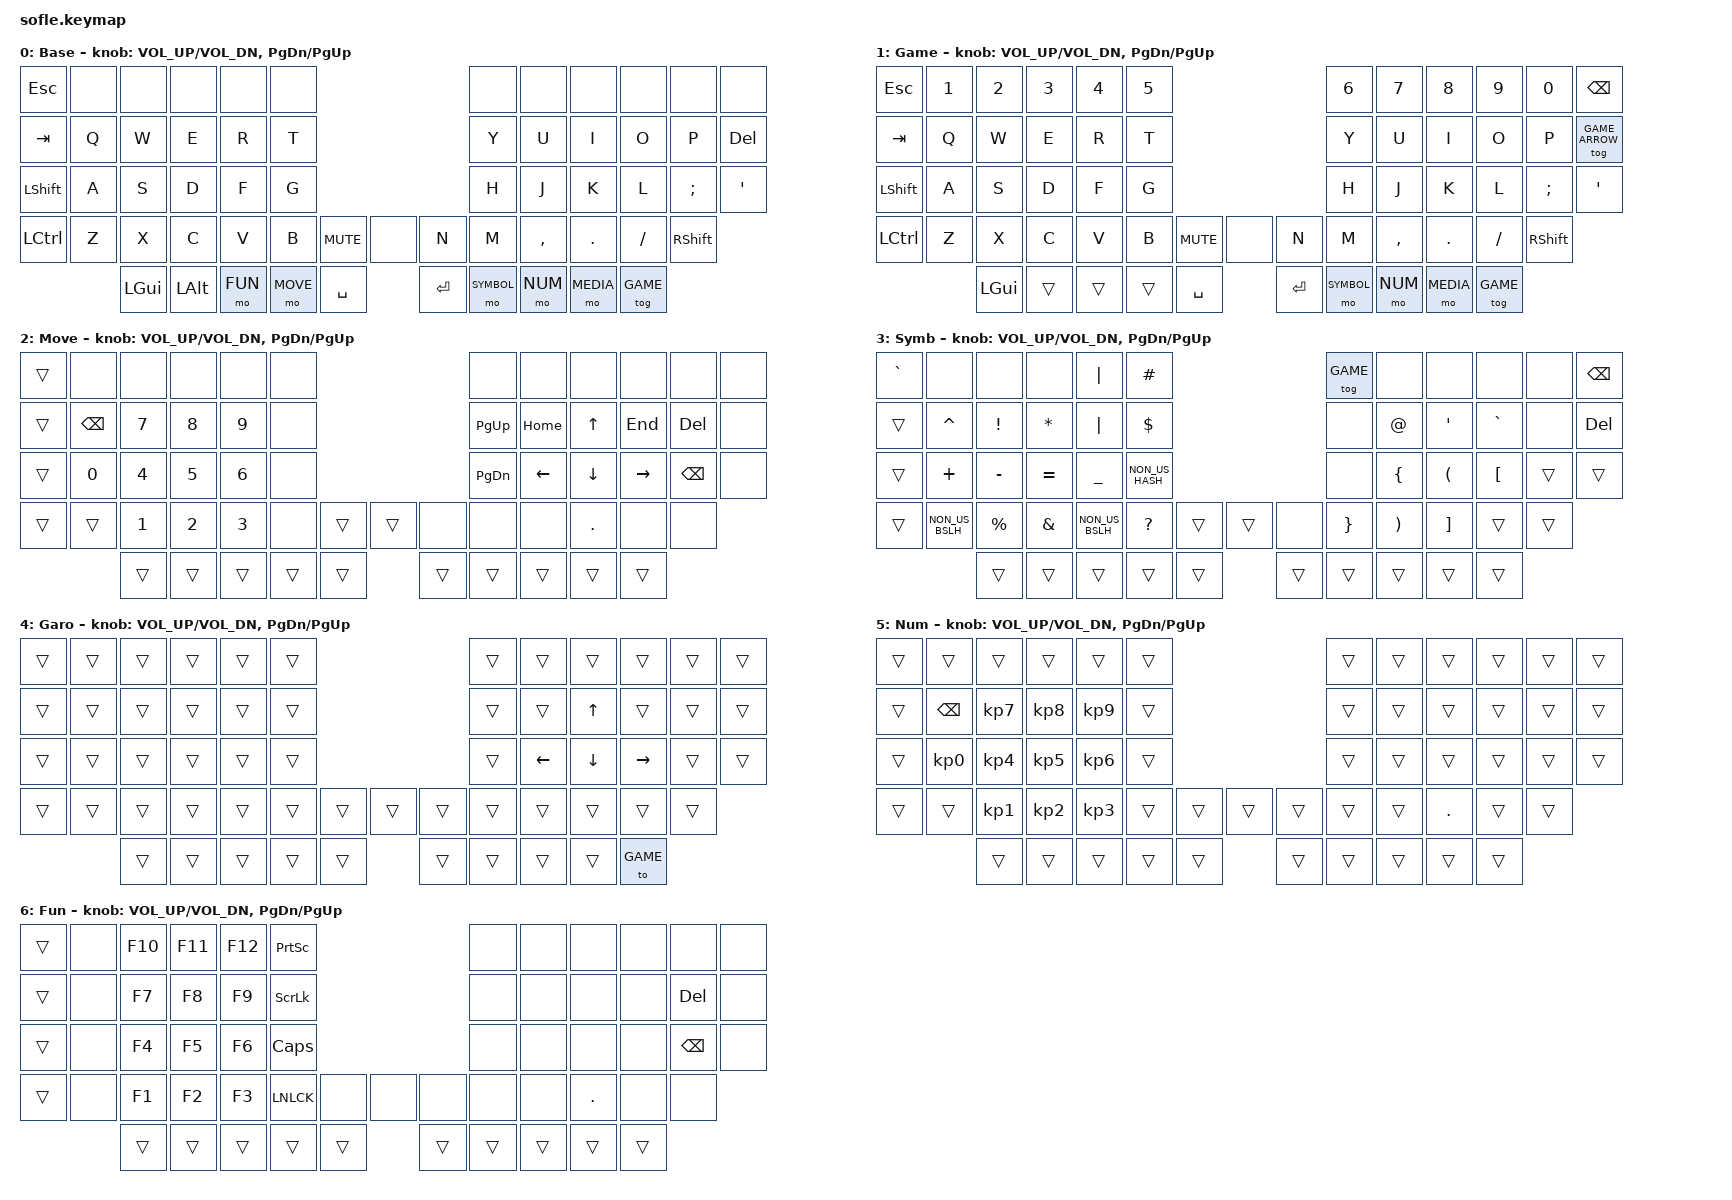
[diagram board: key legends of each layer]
/*
 * Copyright (c) 2020 The ZMK Contributors
 *
 * SPDX-License-Identifier: MIT
 */

#include <behaviors.dtsi>
#include <dt-bindings/zmk/keys.h>
#include <dt-bindings/zmk/bt.h>
#include <dt-bindings/zmk/rgb.h>
#include <dt-bindings/zmk/ext_power.h>

#define QWERTY     0
#define GAME       1
#define MOVE       2
#define SYMBOL     3
#define GAME_ARROW 4
#define NUM        5
#define FUN        6
#define MEDIA      7

/ {
    combos {
        compatible = "zmk,combos";

        combo_ui {
            timeout-ms = <50>;
            key-positions = <19 20>;
            bindings = <&kp LG(GRAVE)>;
        };

        combo_df {
            timeout-ms = <50>;
            key-positions = <27 28>;
            bindings = <&kp RET>;
        };

        combo_jk {
            timeout-ms = <50>;
            key-positions = <31 32>;
            bindings = <&kp BSPC>;
        };

        combo_l_semi {
            timeout-ms = <50>;
            key-positions = <33 34>;
            bindings = <&kp DEL>;
        };
    };

    keymap {
        compatible = "zmk,keymap";

        qwerty_layer {
            display-name = "Base";
            bindings = <
&kp ESC    &none  &none     &none     &none    &none                                     &none       &none    &none      &none      &none     &none
&kp TAB    &kp Q  &kp W     &kp E     &kp R    &kp T                                     &kp Y       &kp U    &kp I      &kp O      &kp P     &kp DEL
&kp LSHFT  &kp A  &kp S     &kp D     &kp F    &kp G                                     &kp H       &kp J    &kp K      &kp L      &kp SEMI  &kp SQT
&kp LCTRL  &kp Z  &kp X     &kp C     &kp V    &kp B     &kp C_MUTE    &none  &kp N       &kp M    &kp COMMA  &kp DOT    &kp FSLH  &kp RSHFT
                  &kp LGUI  &kp LALT  &mo FUN  &mo MOVE  &kp SPACE     &kp RET           &mo SYMBOL  &mo NUM  &mo MEDIA  &tog GAME
            >;

            sensor-bindings =
                <&inc_dec_kp C_VOL_UP C_VOL_DN>,
                <&inc_dec_kp PG_DN PG_UP>;
        };

        game_layer {
            display-name = "Game";
            bindings = <
&kp ESC    &kp N1  &kp N2    &kp N3  &kp N4  &kp N5                                  &kp N6      &kp N7   &kp N8     &kp N9     &kp N0    &kp BSPC
&kp TAB    &kp Q   &kp W     &kp E   &kp R   &kp T                                   &kp Y       &kp U    &kp I      &kp O      &kp P     &tog GAME_ARROW
&kp LSHFT  &kp A   &kp S     &kp D   &kp F   &kp G                                   &kp H       &kp J    &kp K      &kp L      &kp SEMI  &kp SQT
&kp LCTRL  &kp Z   &kp X     &kp C   &kp V   &kp B   &kp C_MUTE    &none  &kp N       &kp M    &kp COMMA  &kp DOT    &kp FSLH  &kp RSHFT
                   &kp LGUI  &trans  &trans  &trans  &kp SPACE     &kp RET           &mo SYMBOL  &mo NUM  &mo MEDIA  &tog GAME
            >;

            sensor-bindings =
                <&inc_dec_kp C_VOL_UP C_VOL_DN>,
                <&inc_dec_kp PG_DN PG_UP>;
        };

        move_layer {
            display-name = "Move";
            bindings = <
&trans  &none     &none   &none   &none   &none                     &none      &none     &none     &none      &none     &none
&trans  &kp BSPC  &kp N7  &kp N8  &kp N9  &none                     &kp PG_UP  &kp HOME  &kp UP    &kp END    &kp DEL   &none
&trans  &kp N0    &kp N4  &kp N5  &kp N6  &none                     &kp PG_DN  &kp LEFT  &kp DOWN  &kp RIGHT  &kp BSPC  &none
&trans  &trans    &kp N1  &kp N2  &kp N3  &none   &trans    &trans  &none      &none     &none     &kp DOT    &none     &none
                  &trans  &trans  &trans  &trans  &trans    &trans  &trans     &trans    &trans    &trans
            >;

            sensor-bindings =
                <&inc_dec_kp C_VOL_UP C_VOL_DN>,
                <&inc_dec_kp PG_DN PG_UP>;
        };

        symbol_layer {
            display-name = "Symb";
            bindings = <
&kp GRAVE  &none            &none      &none      &kp PIPE         &kp POUND                          &tog GAME  &none     &none     &none      &none   &kp BSPC
&trans     &kp CARET        &kp EXCL   &kp ASTRK  &kp PIPE         &kp DLLR                           &none      &kp AT    &kp SQT   &kp GRAVE  &none   &kp DEL
&trans     &kp PLUS         &kp MINUS  &kp EQUAL  &kp UNDER        &kp NON_US_HASH                    &none      &kp LBRC  &kp LPAR  &kp LBKT   &trans  &trans
&trans     &kp NON_US_BSLH  &kp PRCNT  &kp AMPS   &kp NON_US_BSLH  &kp QMARK        &trans    &trans  &none      &kp RBRC  &kp RPAR  &kp RBKT   &trans  &trans
                            &trans     &trans     &trans           &trans           &trans    &trans  &trans     &trans    &trans    &trans
            >;

            sensor-bindings =
                <&inc_dec_kp C_VOL_UP C_VOL_DN>,
                <&inc_dec_kp PG_DN PG_UP>;
        };

        game_arrow_layer {
            display-name = "Garo";
            bindings = <
&trans  &trans  &trans  &trans  &trans  &trans                    &trans  &trans    &trans    &trans     &trans  &trans
&trans  &trans  &trans  &trans  &trans  &trans                    &trans  &trans    &kp UP    &trans     &trans  &trans
&trans  &trans  &trans  &trans  &trans  &trans                    &trans  &kp LEFT  &kp DOWN  &kp RIGHT  &trans  &trans
&trans  &trans  &trans  &trans  &trans  &trans  &trans    &trans  &trans  &trans    &trans    &trans     &trans  &trans
                &trans  &trans  &trans  &trans  &trans    &trans  &trans  &trans    &trans    &to GAME
            >;

            sensor-bindings =
                <&inc_dec_kp C_VOL_UP C_VOL_DN>,
                <&inc_dec_kp PG_DN PG_UP>;
        };

        num_layer {
            display-name = "Num";
            bindings = <
&trans  &trans     &trans     &trans     &trans     &trans                    &trans  &trans  &trans  &trans   &trans  &trans
&trans  &kp BSPC   &kp KP_N7  &kp KP_N8  &kp KP_N9  &trans                    &trans  &trans  &trans  &trans   &trans  &trans
&trans  &kp KP_N0  &kp KP_N4  &kp KP_N5  &kp KP_N6  &trans                    &trans  &trans  &trans  &trans   &trans  &trans
&trans  &trans     &kp KP_N1  &kp KP_N2  &kp KP_N3  &trans  &trans    &trans  &trans  &trans  &trans  &kp DOT  &trans  &trans
                   &trans     &trans     &trans     &trans  &trans    &trans  &trans  &trans  &trans  &trans
            >;

            sensor-bindings =
                <&inc_dec_kp C_VOL_UP C_VOL_DN>,
                <&inc_dec_kp PG_DN PG_UP>;
        };

        fun_layer {
            display-name = "Fun";
            bindings = <
&trans  &none  &kp F10  &kp F11  &kp F12  &kp PSCRN                    &none   &none   &none   &none    &none     &none
&trans  &none  &kp F7   &kp F8   &kp F9   &kp SLCK                     &none   &none   &none   &none    &kp DEL   &none
&trans  &none  &kp F4   &kp F5   &kp F6   &kp CLCK                     &none   &none   &none   &none    &kp BSPC  &none
&trans  &none  &kp F1   &kp F2   &kp F3   &kp LNLCK  &none     &none   &none   &none   &none   &kp DOT  &none     &none
               &trans   &trans   &trans   &trans     &trans    &trans  &trans  &trans  &trans  &trans
            >;

            sensor-bindings =
                <&inc_dec_kp C_VOL_UP C_VOL_DN>,
                <&inc_dec_kp PG_DN PG_UP>;
        };
    };
};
